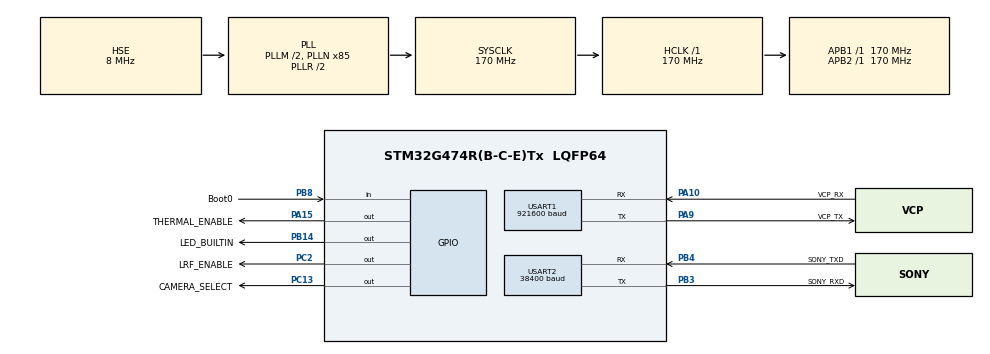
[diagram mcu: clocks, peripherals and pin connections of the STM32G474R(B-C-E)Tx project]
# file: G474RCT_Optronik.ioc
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Mcu.Family=STM32G4
Mcu.Name=STM32G474R(B-C-E)Tx
Mcu.Package=LQFP64
NVIC.PriorityGroup=NVIC_PRIORITYGROUP_4
NVIC.USART1_IRQn=true\:15\:0\:true\:false\:false\:true\:true
NVIC.USART2_IRQn=true\:7\:0\:true\:false\:false\:true\:true
PA10.GPIO_Label=VCP_RX
PA10.GPIO_PuPd=GPIO_PULLUP
PA10.GPIO_Speed=GPIO_SPEED_FREQ_VERY_HIGH
PA10.Mode=Asynchronous
PA10.Signal=USART1_RX
PA11.GPIO_PuPd=GPIO_PULLUP
PA11.GPIO_Speed=GPIO_SPEED_FREQ_VERY_HIGH
PA11.Signal=FDCAN1_RX
PA12.Signal=FDCAN1_TX
PA13.Mode=Serial_Wire
PA13.Signal=SYS_JTMS-SWDIO
PA14.Mode=Serial_Wire
PA14.Signal=SYS_JTCK-SWCLK
PA15.GPIO_Label=THERMAL_ENABLE
PA15.Signal=GPIO_Output
PA2.Signal=QUADSPI1_BK1_NCS
PA3.Signal=QUADSPI1_CLK
PA6.Signal=QUADSPI1_BK1_IO3
PA7.Signal=QUADSPI1_BK1_IO2
PA9.GPIO_Label=VCP_TX
PA9.GPIO_PuPd=GPIO_PULLUP
PA9.GPIO_Speed=GPIO_SPEED_FREQ_VERY_HIGH
PA9.Mode=Asynchronous
PA9.Signal=USART1_TX
PB0.Signal=QUADSPI1_BK1_IO1
PB1.Signal=QUADSPI1_BK1_IO0
PB14.GPIO_Label=LED_BUILTIN
PB14.GPIO_ModeDefaultOutputPP=GPIO_MODE_OUTPUT_PP
PB14.PinState=GPIO_PIN_SET
PB14.Signal=GPIO_Output
PB3.GPIO_Label=SONY_RXD
PB3.GPIO_PuPd=GPIO_NOPULL
PB3.GPIO_Speed=GPIO_SPEED_FREQ_VERY_HIGH
PB3.Mode=Asynchronous
PB3.Signal=USART2_TX
PB4.GPIO_Label=SONY_TXD
PB4.GPIO_PuPd=GPIO_PULLUP
PB4.GPIO_Speed=GPIO_SPEED_FREQ_VERY_HIGH
PB4.Mode=Asynchronous
PB4.Signal=USART2_RX
PB8-BOOT0.GPIO_Label=Boot0
PB8-BOOT0.Signal=GPIO_Input
PC0.GPIO_Label=LRF_TXD
PC0.GPIO_PuPd=GPIO_PULLUP
PC0.GPIO_Speed=GPIO_SPEED_FREQ_MEDIUM
PC0.Signal=LPUART1_RX
PC1.GPIO_Label=LRF_RXD
PC1.GPIO_PuPd=GPIO_NOPULL
PC1.GPIO_Speed=GPIO_SPEED_FREQ_MEDIUM
PC1.Signal=LPUART1_TX
PC10.GPIO_Label=IMU_RXD
PC10.GPIO_PuPd=GPIO_PULLUP
PC10.GPIO_Speed=GPIO_SPEED_FREQ_VERY_HIGH
PC10.Signal=UART4_TX
PC11.GPIO_Label=IMU_TXD
PC11.GPIO_PuPd=GPIO_PULLUP
PC11.GPIO_Speed=GPIO_SPEED_FREQ_VERY_HIGH
PC11.Signal=UART4_RX
PC12.GPIO_Label=THERMAL_RXD
PC12.GPIO_PuPd=GPIO_PULLUP
PC12.GPIO_Speed=GPIO_SPEED_FREQ_VERY_HIGH
PC12.Signal=UART5_TX
PC13.GPIO_Label=CAMERA_SELECT
PC13.GPIO_PuPd=GPIO_PULLUP
PC13.Signal=GPIO_Output
PC2.GPIO_Label=LRF_ENABLE
PC2.GPIO_PuPd=GPIO_NOPULL
PC2.PinState=GPIO_PIN_SET
PC2.Signal=GPIO_Output
PD2.GPIO_Label=THERMAL_TXD
PD2.GPIO_PuPd=GPIO_PULLUP
PD2.GPIO_Speed=GPIO_SPEED_FREQ_VERY_HIGH
PD2.Signal=UART5_RX
PF0-OSC_IN.Mode=HSE-External-Oscillator
PF0-OSC_IN.Signal=RCC_OSC_IN
PF1-OSC_OUT.Mode=HSE-External-Oscillator
PF1-OSC_OUT.Signal=RCC_OSC_OUT
ProjectManager.HeapSize=0x200
ProjectManager.StackSize=0x400
ProjectManager.TargetToolchain=STM32CubeIDE
RCC.ADC12Freq_Value=170000000
RCC.ADC345Freq_Value=170000000
RCC.AHBFreq_Value=170000000
RCC.APB1Freq_Value=170000000
RCC.APB1TimFreq_Value=170000000
RCC.APB2Freq_Value=170000000
RCC.APB2TimFreq_Value=170000000
RCC.CortexFreq_Value=170000000
RCC.EXTERNAL_CLOCK_VALUE=12288000
RCC.EnbaleCSS=true
RCC.HCLKFreq_Value=170000000
RCC.HSE_VALUE=8000000
RCC.HSI48_VALUE=48000000
RCC.HSI_VALUE=16000000
RCC.LPUART1CLockSelection=RCC_LPUART1CLKSOURCE_HSI
RCC.LSE_VALUE=32768
RCC.PLLM=RCC_PLLM_DIV2
RCC.PLLN=85
RCC.PLLSourceVirtual=RCC_PLLSOURCE_HSE
RCC.SYSCLKFreq_VALUE=170000000
RCC.SYSCLKSource=RCC_SYSCLKSOURCE_PLLCLK
RCC.USBFreq_Value=170000000
RCC.VCOOutputFreq_Value=340000000
USART1.BaudRate=921600
USART1.VirtualMode-Asynchronous=VM_ASYNC
USART2.AutoBaudRateEnableParam=UART_ADVFEATURE_AUTOBAUDRATE_DISABLE
USART2.BaudRate=38400
USART2.OneBitSampling=UART_ONE_BIT_SAMPLE_DISABLE
USART2.VirtualMode-Asynchronous=VM_ASYNC
USART2.WordLength=WORDLENGTH_8B
VP_SYS_VS_DBSignals.Mode=DisableDeadBatterySignals
board=custom

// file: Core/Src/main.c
/* USER CODE BEGIN Header */
/**
 ******************************************************************************
 * @file           : main.c
 * @brief          : Main program body
 ******************************************************************************
 * @attention
 *
 * <h2><center>&copy; Copyright (c) 2021 STMicroelectronics.
 * All rights reserved.</center></h2>
 *
 * This software component is licensed by ST under BSD 3-Clause license,
 * the "License"; You may not use this file except in compliance with the
 * License. You may obtain a copy of the License at:
 *                        opensource.org/licenses/BSD-3-Clause
 *
 ******************************************************************************
 */
/* USER CODE END Header */
#include "main.h"
#include "usart.h"
#include "gpio.h"

/* USER CODE BEGIN Includes */
#include <stdio.h>
#include <string.h>

#include "stm_hal_serial.h"
#include "libVisca.h"
/* USER CODE END Includes */

/* USER CODE BEGIN PV */
uint8_t rxDBuffer[RING_BUFFER_RX_SIZE];
uint8_t txDBuffer[RING_BUFFER_TX_SIZE];
TSerial debug;

uint8_t rxSonyBuffer[RING_BUFFER_RX_SIZE];
uint8_t txSonyBuffer[RING_BUFFER_TX_SIZE];
TSerial sony;

VISCAInterface_t sonyIface;
VISCACamera_t sonyCamera;

/* USER CODE END PV */

void SystemClock_Config(void);
/* USER CODE BEGIN PFP */
static void usart2ChangeBaud(uint32_t baud);
/* USER CODE END PFP */

int main(void)
{
	/* USER CODE BEGIN 1 */
	char buf[RING_BUFFER_TX_SIZE];
	uint16_t bufLen;
	/* USER CODE END 1 */

	/* MCU Configuration--------------------------------------------------------*/

	/* Reset of all peripherals, Initializes the Flash interface and the Systick. */
	HAL_Init();

	/* Configure the system clock */
	SystemClock_Config();

	/* Initialize all configured peripherals */
	MX_GPIO_Init();
	MX_USART1_UART_Init();
	MX_USART2_UART_Init();
	/* USER CODE BEGIN 2 */
	/* TODO Init */
	serial_init(&debug, (char*) &rxDBuffer, sizeof(rxDBuffer), (char*) &txDBuffer,
			sizeof(txDBuffer), &huart1);

	bufLen = sprintf(buf, "Optronik Firmware!\r\n");
	serial_write_str(&debug, buf, bufLen);

	bufLen = sprintf(buf, "BR= %ld\r\n", huart2.Init.BaudRate);
	serial_write_str(&debug, buf, bufLen);

	sonyIface.port_fd = &sony;
	sonyIface.broadcast = 0;
	sonyCamera.address = 1;
	serial_init(&sony, (char*) &rxSonyBuffer, sizeof(rxSonyBuffer), (char*) &txSonyBuffer,
			sizeof(txSonyBuffer), &huart2);

//	HAL_Delay(3000);
//	if (VISCA_set_zoom_value(&sonyIface, &sonyCamera, 0x2000) == VISCA_SUCCESS) {
//		bufLen = sprintf(buf, "sony success!\r\n");
//	}
//	else
//		bufLen = sprintf(buf, "sony failed!\r\n");
//	serial_write_str(&debug, buf, bufLen);

	/* USER CODE END 2 */

	/* Infinite loop */
	/* USER CODE BEGIN WHILE */
	uint32_t ledTimer = 0;
	while (1) {
		char c;
		uint8_t sonyCommand[32];
		uint32_t u32;
		/* USER CODE END WHILE */

		/* USER CODE BEGIN 3 */
		/* TODO BEGIN LOOP*/

		if (serial_available(&sony) > 0) {
			c = serial_read(&sony);
			bufLen = sprintf(buf, "0x%02X ", c);
			serial_write_str(&debug, buf, bufLen);
			if (c == 0xFF)
				serial_write_str(&debug, "\r\n", 2);
		}

		if (serial_available(&debug) > 0) {
			c = serial_read(&debug);
			if (c == 'R') {
//				bufLen = sprintf(buf, "Camera Reset= %d\r\n",
//						HAL_GPIO_ReadPin(SONY_RESET_GPIO_Port, SONY_RESET_Pin));
//				serial_write_str(&debug, buf, bufLen);
//
//				HAL_GPIO_WritePin(SONY_RESET_GPIO_Port, SONY_RESET_Pin, GPIO_PIN_RESET);
//				HAL_Delay(500);
//				HAL_GPIO_WritePin(SONY_RESET_GPIO_Port, SONY_RESET_Pin, GPIO_PIN_SET);

			}
			else if (c == 't') {
				bufLen = sprintf(buf, "get camera version\r\n");
				serial_write_str(&debug, buf, bufLen);
				/* version inquiry */
				memset(sonyCommand, 0, 32);
				sonyCommand[0] = 0x81;
				sonyCommand[1] = 0x09;
				sonyCommand[2] = 0x00;
				sonyCommand[3] = 0x02;
				sonyCommand[4] = 0xFF;
				serial_write_str(&sony, sonyCommand, 5);
			}
			else if (c == 'P') {
				bufLen = sprintf(buf, "Power On\r\n");
				serial_write_str(&debug, buf, bufLen);
				/* version inquiry */
				memset(sonyCommand, 0, 32);
				sonyCommand[0] = 0x81;
				sonyCommand[1] = 0x01;
				sonyCommand[2] = 0x04;
				sonyCommand[3] = 0x00;
				sonyCommand[4] = 0x02;
				sonyCommand[5] = 0xFF;
				serial_write_str(&sony, sonyCommand, 6);
			}
//			else if (c == 'z') {
//
//				u32 = 0x2000;
//
//				bufLen = sprintf(buf, "zoom= 0x%lX\t%d\r\n", u32,
//						VISCA_set_zoom_value(&sonyIface, &sonyCamera, u32));
//				serial_write_str(&debug, buf, bufLen);
//			}
//			else if (c == 'A') {
//				bufLen = sprintf(buf, "set address to default!\r\n");
//				serial_write_str(&debug, buf, bufLen);
//				memset(sonyCommand, 0, 32);
//				sonyCommand[0] = 0x88;
//				sonyCommand[1] = 0x30;
//				sonyCommand[2] = 0x01;
//				sonyCommand[3] = 0xFF;
//				serial_write_str(&sony, (const char*) sonyCommand, 4);
//			}
//			else if (c == 'F') {
//				bufLen = sprintf(buf, "IF_Clear broadcast\r\n");
//				serial_write_str(&debug, buf, bufLen);
//				memset(sonyCommand, 0, 32);
//				sonyCommand[0] = 0x88;
//				sonyCommand[1] = 0x01;
//				sonyCommand[2] = 0x00;
//				sonyCommand[3] = 0x01;
//				sonyCommand[4] = 0xFF;
//				serial_write_str(&sony, (const char*) sonyCommand, 5);
//			}
//			else if (c == '9') {
//				usart2ChangeBaud(9600);
//				serial_init(&sony, (char*) &rxSonyBuffer, sizeof(rxSonyBuffer),
//						(char*) &txSonyBuffer, sizeof(txSonyBuffer), &huart2);
//				serial_read_flush(&sony);
//			}
//			else if (c == '1') {
//				usart2ChangeBaud(19200);
//				serial_init(&sony, (char*) &rxSonyBuffer, sizeof(rxSonyBuffer),
//						(char*) &txSonyBuffer, sizeof(txSonyBuffer), &huart2);
//				serial_read_flush(&sony);
//			}
//			else if (c == '3') {
//				usart2ChangeBaud(38400);
//				serial_init(&sony, (char*) &rxSonyBuffer, sizeof(rxSonyBuffer),
//						(char*) &txSonyBuffer, sizeof(txSonyBuffer), &huart2);
//				serial_read_flush(&sony);
//			}
//			else if (c == '\r')
//				serial_write(&debug, '\r');
//			else if (c == '\n')
//				serial_write(&debug, '\n');

		}

		if (HAL_GetTick() >= ledTimer) {
			ledTimer = HAL_GetTick() + 100;

			HAL_GPIO_TogglePin(LED_BUILTIN_GPIO_Port, LED_BUILTIN_Pin);
//			bufLen = sprintf(buf, "led= %d;sony_rst= %d;B0= %d\r\n",
//					HAL_GPIO_ReadPin(LED_BUILTIN_GPIO_Port, LED_BUILTIN_Pin),
//					HAL_GPIO_ReadPin(SONY_RESET_GPIO_Port, SONY_RESET_Pin),
//					HAL_GPIO_ReadPin(Boot0_GPIO_Port, Boot0_Pin));
			bufLen = sprintf(buf, "led= %d;B0= %d\r\n",
					HAL_GPIO_ReadPin(LED_BUILTIN_GPIO_Port, LED_BUILTIN_Pin),
					HAL_GPIO_ReadPin(Boot0_GPIO_Port, Boot0_Pin));
			serial_write_str(&debug, buf, bufLen);
		}

		/* TODO END LOOP*/
	}
	/* USER CODE END 3 */
}

void SystemClock_Config(void)
{
	RCC_OscInitTypeDef RCC_OscInitStruct = { 0 };
	RCC_ClkInitTypeDef RCC_ClkInitStruct = { 0 };
	RCC_PeriphCLKInitTypeDef PeriphClkInit = { 0 };

	/** Configure the main internal regulator output voltage
	 */
	HAL_PWREx_ControlVoltageScaling(PWR_REGULATOR_VOLTAGE_SCALE1_BOOST);
	/** Initializes the RCC Oscillators according to the specified parameters
	 * in the RCC_OscInitTypeDef structure.
	 */
	RCC_OscInitStruct.OscillatorType = RCC_OSCILLATORTYPE_HSE;
	RCC_OscInitStruct.HSEState = RCC_HSE_ON;
	RCC_OscInitStruct.PLL.PLLState = RCC_PLL_ON;
	RCC_OscInitStruct.PLL.PLLSource = RCC_PLLSOURCE_HSE;
	RCC_OscInitStruct.PLL.PLLM = RCC_PLLM_DIV2;
	RCC_OscInitStruct.PLL.PLLN = 85;
	RCC_OscInitStruct.PLL.PLLP = RCC_PLLP_DIV2;
	RCC_OscInitStruct.PLL.PLLQ = RCC_PLLQ_DIV2;
	RCC_OscInitStruct.PLL.PLLR = RCC_PLLR_DIV2;
	if (HAL_RCC_OscConfig(&RCC_OscInitStruct) != HAL_OK) {
		Error_Handler();
	}
	/** Initializes the CPU, AHB and APB buses clocks
	 */
	RCC_ClkInitStruct.ClockType = RCC_CLOCKTYPE_HCLK | RCC_CLOCKTYPE_SYSCLK | RCC_CLOCKTYPE_PCLK1
			| RCC_CLOCKTYPE_PCLK2;
	RCC_ClkInitStruct.SYSCLKSource = RCC_SYSCLKSOURCE_PLLCLK;
	RCC_ClkInitStruct.AHBCLKDivider = RCC_SYSCLK_DIV1;
	RCC_ClkInitStruct.APB1CLKDivider = RCC_HCLK_DIV1;
	RCC_ClkInitStruct.APB2CLKDivider = RCC_HCLK_DIV1;

	if (HAL_RCC_ClockConfig(&RCC_ClkInitStruct, FLASH_LATENCY_4) != HAL_OK) {
		Error_Handler();
	}
	/** Initializes the peripherals clocks
	 */
	PeriphClkInit.PeriphClockSelection = RCC_PERIPHCLK_USART1 | RCC_PERIPHCLK_USART2;
	PeriphClkInit.Usart1ClockSelection = RCC_USART1CLKSOURCE_PCLK2;
	PeriphClkInit.Usart2ClockSelection = RCC_USART2CLKSOURCE_PCLK1;
	if (HAL_RCCEx_PeriphCLKConfig(&PeriphClkInit) != HAL_OK) {
		Error_Handler();
	}
	/** Enables the Clock Security System
	 */
	HAL_RCC_EnableCSS();
}

/* USER CODE BEGIN 4 */
/* TODO USER FUNCTION*/
void USART1_IRQHandler(void)
{
	USARTx_IRQHandler(&debug);
}

void USART2_IRQHandler(void)
{
	USARTx_IRQHandler(&sony);
}

static void usart2ChangeBaud(uint32_t baud)
{
	uint16_t bufLen = 0;
	char buf[RING_BUFFER_TX_SIZE];

	huart2.Init.BaudRate = baud;
	if (HAL_UART_Init(&huart2) == HAL_OK) {
		bufLen = sprintf(buf, "baud= %ld\r\n", huart2.Init.BaudRate);
		serial_write_str(&debug, buf, bufLen);
	}
}
/* USER CODE END 4 */

void Error_Handler(void)
{
	__disable_irq();
	while (1) {
	}
}

/************************ (C) COPYRIGHT STMicroelectronics *****END OF FILE****/
